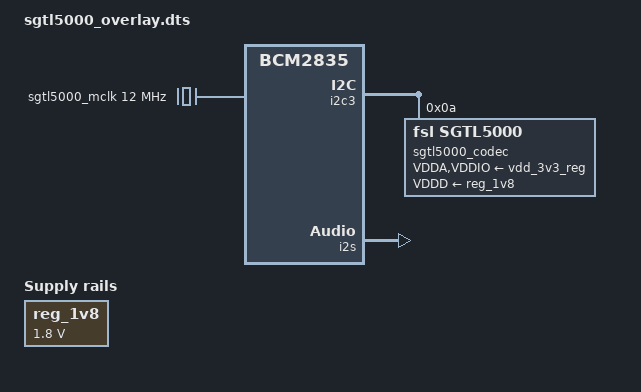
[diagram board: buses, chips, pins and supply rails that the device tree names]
/dts-v1/;
/plugin/;

/{
    compatible = "brcm,bcm2835";

    fragment@0 {
        target-path = "/";
        __overlay__ {
            sgtl5000_mclk: sgtl5000_mclk {
                compatible = "fixed-clock";
                #clock-cells = <0>;
                clock-frequency = <12000000>;
                clock-output-names = "sgtl5000-mclk";
            };
        };
    };

    fragment@1 {
        target = <&soc>;
        __overlay__ {
            reg_1v8: reg_1v8@0 {
                compatible = "regulator-fixed";
                regulator-name = "1V8";
                regulator-min-microvolt = <1800000>;
                regulator-max-microvolt = <1800000>;
                regulator-always-on;
            };
        };
    };

    fragment@2 {
        target = <&i2c3>;
        __overlay__ {
            status = "okay";

            sgtl5000_codec: sgtl5000@0a {
                #sound-dai-cells = <0>;
                compatible = "fsl,sgtl5000";
                reg = <0x0a>;
                clocks = <&sgtl5000_mclk>;
                micbias-resistor-k-ohms = <2>;
                micbias-voltage-m-volts = <3000>;
                VDDA-supply = <&vdd_3v3_reg>;
                VDDIO-supply = <&vdd_3v3_reg>;
                VDDD-supply = <&reg_1v8>;
                status = "okay";
            };
        };
    };

    fragment@3 {
        target = <&i2s>;
        __overlay__ {
            status = "okay";
        };
    };

    fragment@4 {
        target = <&sound>;
        sound_overlay: __overlay__ {
           compatible = "simple-audio-card";
           simple-audio-card,format = "i2s";
           simple-audio-card,name = "sgtl5000";
           simple-audio-card,bitclock-master = <&dailink0_master>;
           simple-audio-card,frame-master = <&dailink0_master>;
           simple-audio-card,widgets =
               "Microphone", "Microphone Jack",
               "Speaker", "External Speaker";
           simple-audio-card,routing =
               "MIC_IN", "Mic Bias",
               "External Speaker", "LINE_OUT";
           status = "okay";
           simple-audio-card,cpu {
               sound-dai = <&i2s>;
           };
           dailink0_master: simple-audio-card,codec {
               sound-dai = <&sgtl5000_codec>;
           };
        };
    };
};
